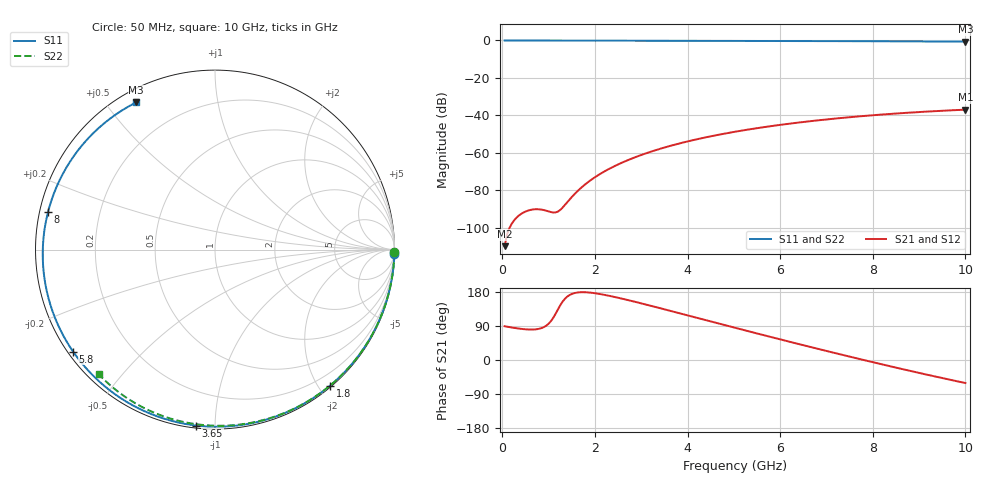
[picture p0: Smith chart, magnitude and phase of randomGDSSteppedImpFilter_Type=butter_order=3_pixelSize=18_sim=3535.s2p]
! freq	dB(S11)	phase(S11)	dB(S12)	phase(S12)
!  dB(S21)	phase(S21)	dB(S22)	phase(S22)
!S-par simulation data
#  GHz  S  DB  R 50
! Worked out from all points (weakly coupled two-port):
!   200 points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, 50 MHz to 10 GHz, reference 50 ohm
!   highest |S21| = -36.92 dB at 10 GHz (marker M1); lowest = -109.8 dB at 50 MHz (marker M2)
!   lowest |S11| = -0.6 dB at 10 GHz (marker M3), VSWR 27.66, Z = 2.45 + j29.9 ohm
!   |S11| at or under -10 dB: nowhere
!   |S22| runs from -0.5 to 0.0 dB; largest |S21 - S12| = 0
!   S11 on the Smith chart (normalised r, x): 50 MHz: 0, -80; 1.8 GHz: 0.02, -2.16; 3.65 GHz: 0.01, -0.90; 5.8 GHz: 0.01, -0.32; 8 GHz: 0.02, +0.11; 10 GHz: 0.05, +0.60
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0.05  -0.00 -1.4  -109.76 89.1  -109.76 89.1  -0.00 -0.8
0.4  -0.02 -11.3  -92.65 82.3  -92.65 82.3  -0.01 -6.1
0.8  -0.03 -22.5  -90.10 82.5  -90.10 82.5  -0.02 -12.2
1.2  -0.04 -33.6  -91.31 133.1  -91.31 133.1  -0.02 -18.3
1.6  -0.06 -44.4  -80.96 177.6  -80.96 177.6  -0.03 -24.3
1.65  -0.06 -45.7  -79.77 178.4  -79.77 178.4  -0.03 -25.0
1.75  -0.06 -48.4  -77.58 178.9  -77.58 178.9  -0.03 -26.5
1.8  -0.06 -49.7  -76.57 178.8  -76.57 178.8  -0.03 -27.3
2.1  -0.07 -57.6  -71.41 174.3  -71.41 174.3  -0.04 -31.7
2.45  -0.08 -66.7  -66.73 165.7  -66.73 165.7  -0.05 -36.8
2.9  -0.10 -78.0  -62.02 152.6  -62.02 152.6  -0.06 -43.3
3.4  -0.12 -90.2  -57.86 137.0  -57.86 137.0  -0.07 -50.5
3.65  -0.12 -96.1  -56.09 129.0  -56.09 129.0  -0.07 -54.0
4.3  -0.15 -111.2  -52.18 108.2  -52.18 108.2  -0.09 -63.0
5.05  -0.19 -128.0  -48.60 84.3  -48.60 84.3  -0.11 -73.0
5.8  -0.23 -144.3  -45.71 60.7  -45.71 60.7  -0.14 -82.8
6.7  -0.30 -163.8  -42.94 32.9  -42.94 32.9  -0.18 -94.1
7.35  -0.35 -178.0  -41.29 13.4  -41.29 13.4  -0.22 -102.1
8  -0.41 167.4  -39.90 -5.7  -39.90 -5.7  -0.26 -109.8
8.35  -0.45 159.3  -39.25 -15.8  -39.25 -15.8  -0.29 -114.0
9.15  -0.53 140.1  -37.98 -38.2  -37.98 -38.2  -0.36 -123.3
10  -0.63 118.2  -36.92 -60.8  -36.92 -60.8  -0.45 -133.0
